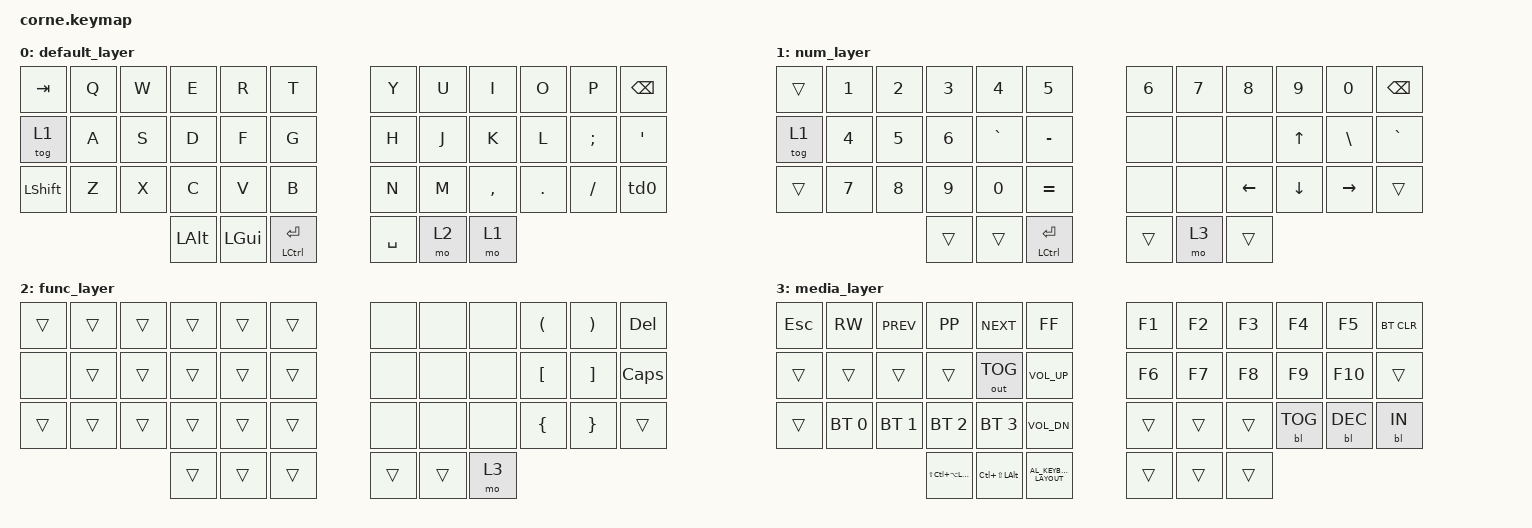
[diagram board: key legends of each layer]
/*
 * Copyright (c) 2020 The ZMK Contributors
 *
 * SPDX-License-Identifier: MIT
 */

#include <behaviors.dtsi>
#include <dt-bindings/zmk/keys.h>
#include <dt-bindings/zmk/bt.h>
#include <dt-bindings/zmk/backlight.h>

/ {
    behaviors {
        td0: tap_dance_0 {
            compatible = "zmk,behavior-tap-dance";
            label = "TAP_DANCE_0";
            #binding-cells = <0>;
            tapping-term-ms = <200>;
            bindings = <&kp RSHFT>, <&caps_word>;
        };
    };


        keymap {
                compatible = "zmk,keymap";

                default_layer {
// -----------------------------------------------------------------------------------------
// |  TAB |  Q  |  W  |  E  |  R  |    T     |   |  Y  |  U   |  I  |  O  |  P  | BKSP |
// |  TG1 |  A  |  S  |  D  |  F  |    G     |   |  H  |  J   |  K  |  L  |  ;  |  '   |
// | SHFT |  Z  |  X  |  C  |  V  |    B     |   |  N  |  M   |  ,  |  .  |  /  | SHFT |
//                    | ALT | CMD | CTL(ENT) |   | SPC | FN2  | FN1 |
                        bindings = <
   &kp TAB     	&kp Q 	&kp W 	&kp E 		&kp R 		&kp T   		   &kp Y 		&kp U  	&kp I     &kp O   &kp P    &kp BSPC
   &tog 1 		&kp A 	&kp S 	&kp D 		&kp F 		&kp G   		   &kp H 		&kp J  	&kp K     &kp L   &kp SEMI &kp SQT
   &kp LSHFT 	&kp Z 	&kp X 	&kp C 		&kp V 		&kp B   		   &kp N 		&kp M  	&kp COMMA &kp DOT &kp FSLH &td0
								&kp LALT 	&kp LGUI 	&mt LCTRL RET  &kp SPACE 	&mo 2 	&mo 1
                        >;
                };
                num_layer {
// -----------------------------------------------------------------------------------------
// |  TAB |  1  |  2  |  3  |  4  |    5     |   |  6  |  7  |  8   |   9  |   0   | BKSP |
// |  TG1 |  4  |  5  |  6  |  `  |    -     |   |     |     |      |  UP  |   \   |   `  |
// | SHFT |  7  |  8  |  9  |  0  |    =     |   |     |     | LEFT | DOWN | RIGHT |      |
//                    | ALT | CMD | CTL(ENT) |   | SPC | FN3 |  FN1 |
                        bindings = <
   &trans   &kp N1   &kp N2   &kp N3   &kp N4      &kp N5         &kp N6   &kp N7   &kp N8      &kp N9      &kp N0      &kp BSPC
   &tog 1   &kp N4   &kp N5   &kp N6   &kp GRAVE   &kp MINUS      &none    &none    &none       &kp UP      &kp BSLH    &kp GRAVE
   &trans   &kp N7   &kp N8   &kp N9   &kp N0      &kp EQUAL      &none    &none    &kp LEFT    &kp DOWN    &kp RIGHT   &trans
                              &trans   &trans      &mt LCTRL RET  &trans   &mo 3    &trans
                        >;
                };

                func_layer {
// -----------------------------------------------------------------------------------------
// |  TAB |       |      |     |     |          |   |     |     |     | ( | ) |  DEL |
// |      |       |      |     |     |          |   |     |     |     | [ | ] | CAPS | 
// | SHFT |       |      |     |     |          |   |     |     |     | { | } |      |
//                       | ALT | CMD | CTL(ENT) |   | SPC | FN2 | FN3 |
                        bindings = <
   &trans      &trans   &trans   &trans   &trans   &trans      &none    &none   &none   &kp LPAR    &kp RPAR    &kp DEL
   &none       &trans   &trans   &trans   &trans   &trans      &none    &none   &none   &kp LBKT    &kp RBKT    &kp CAPS
   &trans      &trans   &trans   &trans   &trans   &trans      &none    &none   &none   &kp LBRC    &kp RBRC    &trans
                                 &trans   &trans   &trans      &trans   &trans   &mo 3
                        >;
                };
				media_layer {
// -----------------------------------------------------------------------------------------
// | ESC | RWND | PRVS  | PLAY   | NEXT      | MFFD   |   |  F1   |  F2   |  F3   |  F4   |  F5   |  BTCLR |
// |     |      |       |        | OUT_TOG   | VOL+   |   |  F6   |  F7   |  F8   |  F9   |  F10  |     	 | 
// |     | BT1  | BT2   | BT3    | BT4       | VOL-   |   |       |       |       |BL_DEC |BL_INC | BL_TOG |
//                      | HYPER  | MEH       | MYKEYB |   |  SPC  |  FN2  | FN3   |
                        bindings = <
   &kp ESC  &kp C_RW       &kp K_PREV     &kp K_PP       &kp K_NEXT     &kp C_FF       &kp F1   &kp F2   &kp F3   &kp F4      &kp F5      &bt BT_CLR
   &trans   &trans         &trans         &trans         &out OUT_TOG   &kp K_VOL_UP   &kp F6   &kp F7   &kp F8   &kp F9      &kp F10     &trans
   &trans   &bt BT_SEL 0   &bt BT_SEL 1   &bt BT_SEL 2   &bt BT_SEL 3   &kp K_VOL_DN   &trans   &trans   &trans   &bl BL_TOG  &bl BL_DEC  &bl BL_IN
                                 &kp LS(LC(LA(LGUI)))  &kp LC(LS(LALT)) &kp C_AL_KEYBOARD_LAYOUT   &trans &trans  &trans
                        >;
                };
        };
};
